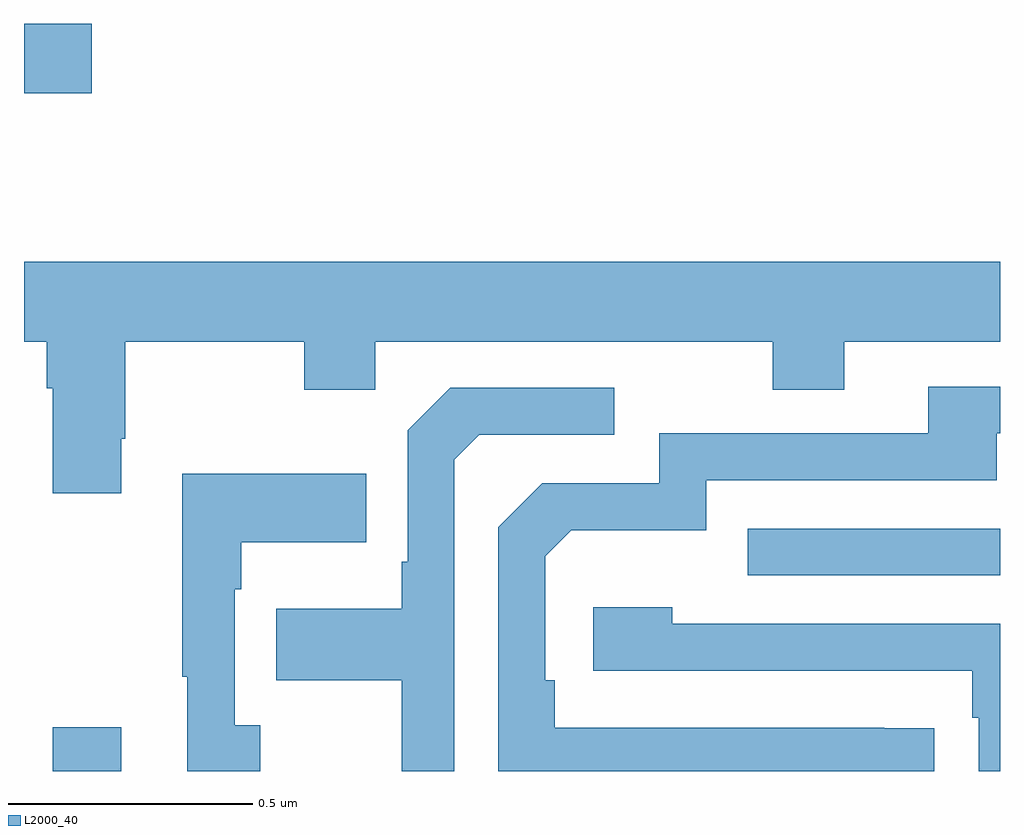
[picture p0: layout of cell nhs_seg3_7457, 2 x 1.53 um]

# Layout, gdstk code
import gdstk
lib = gdstk.Library(unit=1e-6, precision=1e-09)
def R(c, l, rs):  # rectangles x0, y0, x1, y1
    for r in rs: c.add(gdstk.rectangle(r[:2], r[2:], *l))
def P(c, l, *ps):  # polygons
    for p in ps: c.add(gdstk.Polygon(p, *l))
L2000_40 = (2000, 40)

nhs_seg3_7457 = lib.new_cell('nhs_seg3_7457')
R(nhs_seg3_7457, L2000_40, [(204.059,669.4,204.199,669.49), (205.483,669.801,206,669.897), (204,670.789,204.139,670.931)])
P(nhs_seg3_7457, L2000_40, [(204.199,670.081),(204.207,670.081),(204.207,670.28),(204.574,670.28),(204.574,670.181),(204.72,670.181),(204.72,670.28),(205.534,670.28),(205.534,670.181),(205.681,670.181),(205.681,670.28),(206,670.28),(206,670.444),(204,670.444),(204,670.28),(204.047,670.28),(204.047,670.184),(204.059,670.184),(204.059,669.969),(204.199,669.969)],
  [(205.865,669.488),(205.763,669.488),(205.763,669.489),(205.088,669.489),(205.088,669.586),(205.068,669.586),(205.068,669.84),(205.121,669.893),(205.398,669.893),(205.398,669.996),(205.993,669.996),(205.993,670.092),(206,670.092),(206,670.188),(205.853,670.188),(205.853,670.092),(205.302,670.092),(205.302,669.99),(205.062,669.99),(204.972,669.9),(204.972,669.4),(205.865,669.4)],
  [(204.882,670.038),(204.933,670.089),(205.21,670.089),(205.21,670.185),(204.873,670.185),(204.786,670.098),(204.786,669.829),(204.774,669.829),(204.774,669.733),(204.517,669.733),(204.517,669.586),(204.774,669.586),(204.774,669.4),(204.882,669.4)],
  [(204.484,669.494),(204.432,669.494),(204.432,669.773),(204.445,669.773),(204.445,669.869),(204.701,669.869),(204.701,670.009),(204.324,670.009),(204.324,669.593),(204.335,669.593),(204.335,669.4),(204.484,669.4)],
  [(206,669.702),(205.328,669.702),(205.328,669.736),(205.167,669.736),(205.167,669.606),(205.943,669.606),(205.943,669.509),(205.956,669.509),(205.956,669.4),(206,669.4)])

lib.write_gds('nhs_seg3_7457.gds')
